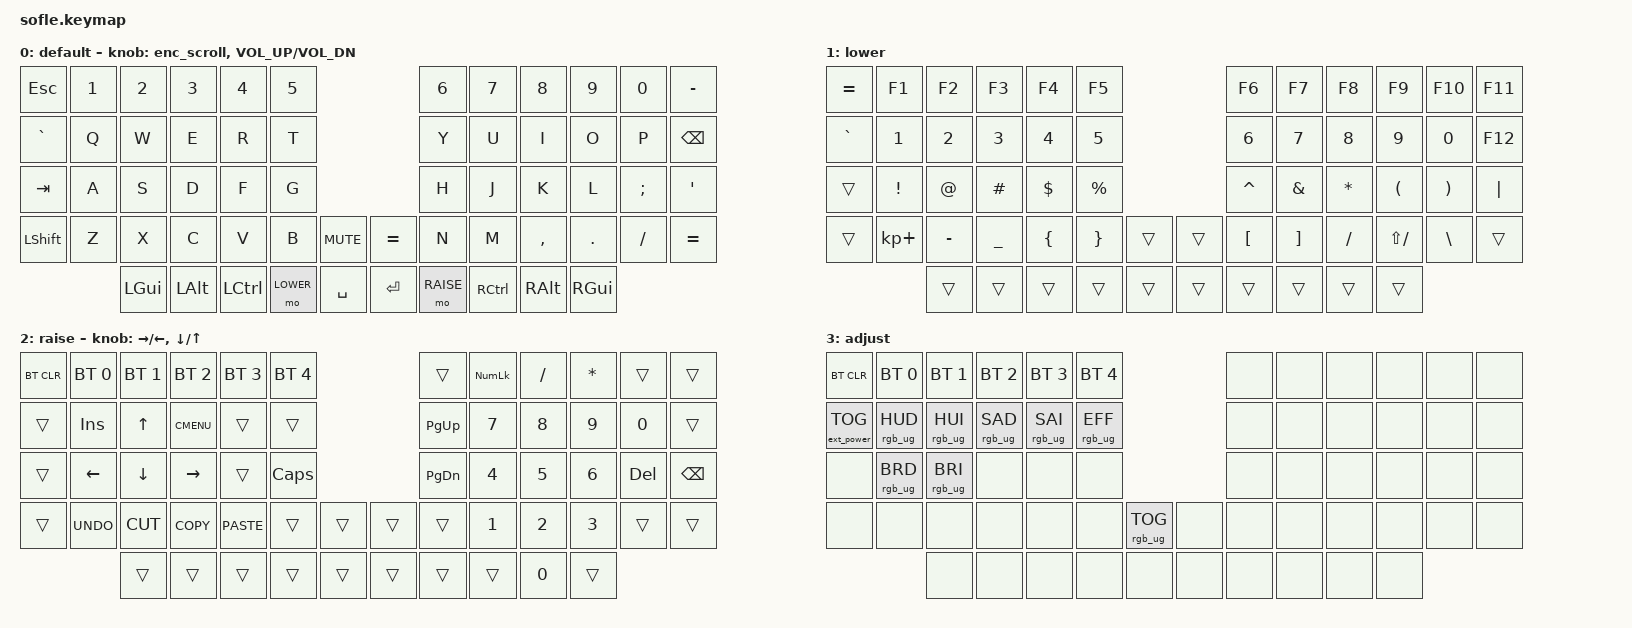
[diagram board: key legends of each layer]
/*
 * Copyright (c) 2020 The ZMK Contributors
 *
 * SPDX-License-Identifier: MIT
 */

#include <behaviors.dtsi>
#include <dt-bindings/zmk/pointing.h>
#include <dt-bindings/zmk/keys.h>
#include <dt-bindings/zmk/bt.h>
#include <dt-bindings/zmk/rgb.h>
#include <dt-bindings/zmk/ext_power.h>

#define BASE 0
#define LOWER 1
#define RAISE 2
#define ADJUST 3

/ {
    // Добавляем кастомное поведение вращения, увеличивающее длину сигнала скролла
    behaviors {
        enc_scroll: enc_scroll {
            compatible = "zmk,behavior-sensor-rotate";
            #sensor-binding-cells = <0>;
            bindings = <&kp SCRL_UP>, <&kp SCRL_DOWN>;
            tap-ms = <40>; // Увеличиваем длительность сигнала, чтобы ОС распознала прокрутку
        };
    };

    conditional_layers {
        compatible = "zmk,conditional-layers";

        adjust_layer {
            if-layers = <LOWER RAISE>;
            then-layer = <ADJUST>;
        };
    };

    keymap {
        compatible = "zmk,keymap";

        default_layer {
            display-name = "default";
            bindings = <
&kp ESC    &kp N1  &kp N2    &kp N3    &kp N4     &kp N5                              &kp N6     &kp N7     &kp N8     &kp N9    &kp N0    &kp MINUS
&kp GRAVE  &kp Q   &kp W     &kp E     &kp R      &kp T                               &kp Y      &kp U      &kp I      &kp O     &kp P     &kp BSPC
&kp TAB    &kp A   &kp S     &kp D     &kp F      &kp G                               &kp H      &kp J      &kp K     &kp L     &kp SEMI  &kp SQT
&kp LSHFT  &kp Z   &kp X     &kp C     &kp V     &kp B      &kp C_MUTE    &kp EQUAL  &kp N      &kp M      &kp COMMA  &kp DOT   &kp FSLH  &kp EQUAL
                   &kp LGUI  &kp LALT  &kp LCTRL  &mo LOWER  &kp SPACE     &kp RET    &mo RAISE  &kp RCTRL  &kp RALT  &kp RGUI
            >;

            // Подключаем наше новое поведение enc_scroll к левому энкодеру
            sensor-bindings = <&enc_scroll &inc_dec_kp C_VOL_UP C_VOL_DN>;
        };

        lower_layer {
            display-name = "lower";
            bindings = <
&kp EQUAL  &kp F1       &kp F2     &kp F3     &kp F4    &kp F5                       &kp F6     &kp F7    &kp F8     &kp F9        &kp F10   &kp F11
&kp GRAVE  &kp N1       &kp N2     &kp N3     &kp N4    &kp N5                       &kp N6     &kp N7    &kp N8     &kp N9        &kp N0    &kp F12
&trans     &kp EXCL     &kp AT     &kp HASH   &kp DLLR  &kp PRCNT                    &kp CARET  &kp AMPS  &kp ASTRK  &kp LPAR      &kp RPAR  &kp PIPE
&trans     &kp KP_PLUS  &kp MINUS  &kp UNDER  &kp LBRC  &kp RBRC   &trans    &trans  &kp LBKT   &kp RBKT  &kp FSLH   &kp LS(FSLH)  &kp BSLH  &trans
                        &trans     &trans     &trans    &trans     &trans    &trans  &trans     &trans    &trans     &trans
            >;
        };

        raise_layer {
            display-name = "raise";
            bindings = <
&bt BT_CLR  &bt BT_SEL 0  &bt BT_SEL 1  &bt BT_SEL 2  &bt BT_SEL 3  &bt BT_SEL 4                    &trans     &kp KP_NUM  &kp SLASH     &kp ASTERISK  &trans   &trans
&trans      &kp INS       &kp UP        &kp K_CMENU   &trans        &trans                          &kp PG_UP  &kp N7      &kp NUMBER_8  &kp N9        &kp N0   &trans
&trans      &kp LEFT      &kp DOWN      &kp RIGHT     &trans        &kp CLCK                        &kp PG_DN  &kp N4      &kp N5        &kp N6        &kp DEL  &kp BSPC
&trans      &kp K_UNDO    &kp K_CUT     &kp K_COPY    &kp K_PASTE   &trans        &trans    &trans  &trans     &kp N1      &kp N2        &kp N3        &trans   &trans
                          &trans        &trans        &trans        &trans        &trans    &trans  &trans     &trans      &kp N0        &trans
            >;

            sensor-bindings = <&inc_dec_kp RIGHT LEFT &inc_dec_kp DOWN UP>;
        };

        adjust_layer {
            display-name = "adjust";
            bindings = <
&bt BT_CLR         &bt BT_SEL 0     &bt BT_SEL 1     &bt BT_SEL 2     &bt BT_SEL 3     &bt BT_SEL 4                               &none  &none  &none  &none  &none  &none
&ext_power EP_TOG  &rgb_ug RGB_HUD  &rgb_ug RGB_HUI  &rgb_ug RGB_SAD  &rgb_ug RGB_SAI  &rgb_ug RGB_EFF                            &none  &none  &none  &none  &none  &none
&none              &rgb_ug RGB_BRD  &rgb_ug RGB_BRI  &none            &none            &none                                      &none  &none  &none  &none  &none  &none
&none              &none            &none            &none            &none            &none            &rgb_ug RGB_TOG    &none  &none  &none  &none  &none  &none  &none
                                    &none            &none            &none            &none            &none              &none  &none  &none  &none  &none
            >;
        };
    };
};
